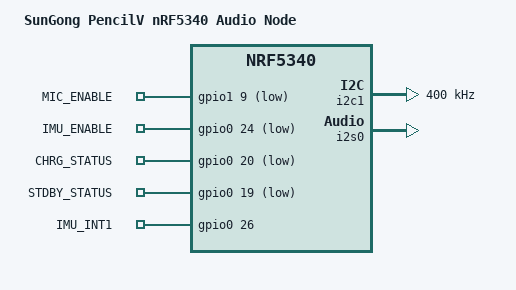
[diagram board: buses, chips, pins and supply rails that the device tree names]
/* SPDX-License-Identifier: Apache-2.0 */

/dts-v1/;
#include <nordic/nrf5340_cpuapp_qkaa.dtsi>
#include <zephyr/dt-bindings/gpio/gpio.h>
#include "pencilv-pinctrl.dtsi"

/ {
    model = "SunGong PencilV nRF5340 Audio Node";
    compatible = "sungong,pencilv-nrf5340";

    chosen {
        zephyr,sram = &sram0_image;
        zephyr,flash = &flash0;
        zephyr,code-partition = &slot0_partition;
    };

    reserved-memory {
        #address-cells = <1>;
        #size-cells = <1>;
        ranges;

        sram0_image: image@20000000 {
            reg = <0x20000000 0x70000>;
        };

        sram0_shared: memory@20070000 {
            reg = <0x20070000 0x10000>;
        };
    };

    aliases {
        mic-en = &mic_en;
        imu-en = &imu_en;
        chrg-in = &chrg_in;
        stdby-in = &stdby_in;
        imu-int = &imu_int1;
    };

    power_enables {
        compatible = "gpio-leds";

        mic_en: mic_en {
            gpios = <&gpio1 9 GPIO_ACTIVE_LOW>;
            label = "MIC_ENABLE";
        };

        imu_en: imu_en {
            gpios = <&gpio0 24 GPIO_ACTIVE_LOW>;
            label = "IMU_ENABLE";
        };
    };

    status_inputs {
        compatible = "gpio-keys";

        chrg_in: chrg_in {
            gpios = <&gpio0 20 GPIO_ACTIVE_LOW>;
            label = "CHRG_STATUS";
        };

        stdby_in: stdby_in {
            gpios = <&gpio0 19 GPIO_ACTIVE_LOW>;
            label = "STDBY_STATUS";
        };
    };

    ints {
        compatible = "gpio-keys";

        imu_int1: imu_int1 {
            gpios = <&gpio0 26 GPIO_ACTIVE_HIGH>;
            label = "IMU_INT1";
        };
    };
};

&gpiote {
    status = "okay";
};

&gpio0 {
    status = "okay";
};

&gpio1 {
    status = "okay";
};

&i2c1 {
    compatible = "nordic,nrf-twim";
    status = "okay";
    pinctrl-0 = <&i2c1_default>;
    pinctrl-1 = <&i2c1_sleep>;
    pinctrl-names = "default", "sleep";
    clock-frequency = <I2C_BITRATE_FAST>;
};

&i2s0 {
    status = "okay";
    pinctrl-0 = <&i2s0_default>;
    pinctrl-1 = <&i2s0_sleep>;
    pinctrl-names = "default", "sleep";
};

&flash0 {
    partitions {
        compatible = "fixed-partitions";
        #address-cells = <1>;
        #size-cells = <1>;

        boot_partition: partition@0 {
            label = "mcuboot";
            reg = <0x00000000 0x00010000>;
        };

        slot0_partition: partition@10000 {
            label = "image-0";
            reg = <0x00010000 0x00060000>;
        };

        slot1_partition: partition@70000 {
            label = "image-1";
            reg = <0x00070000 0x00060000>;
        };

        storage_partition: partition@d0000 {
            label = "storage";
            reg = <0x000d0000 0x00030000>;
        };
    };
};
